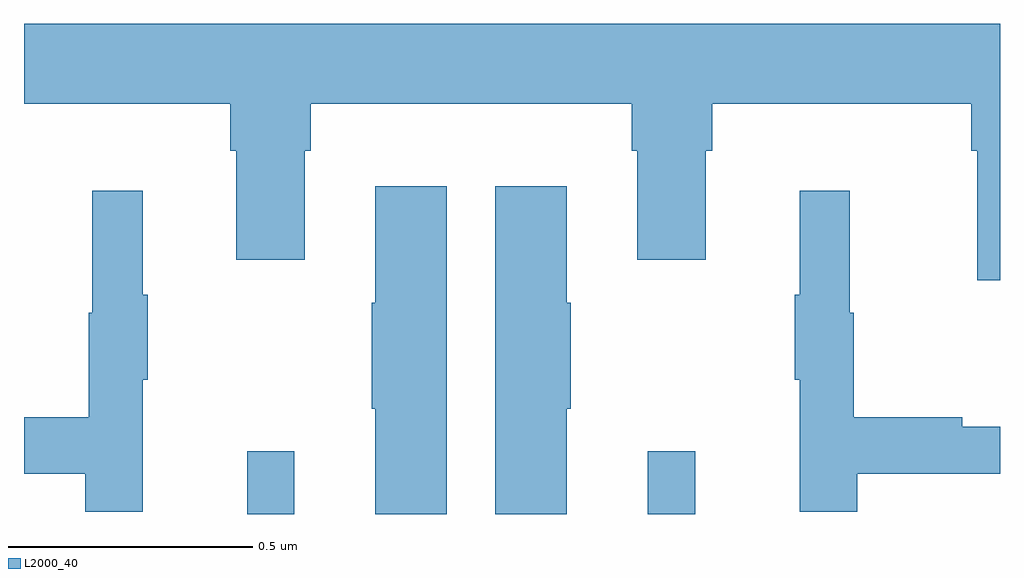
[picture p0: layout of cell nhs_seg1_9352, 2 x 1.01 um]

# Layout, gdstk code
import gdstk
lib = gdstk.Library(unit=1e-6, precision=1e-09)
def R(c, l, rs):  # rectangles x0, y0, x1, y1
    for r in rs: c.add(gdstk.rectangle(r[:2], r[2:], *l))
def P(c, l, *ps):  # polygons
    for p in ps: c.add(gdstk.Polygon(p, *l))
L2000_40 = (2000, 40)

nhs_seg1_9352 = lib.new_cell('nhs_seg1_9352')
R(nhs_seg1_9352, L2000_40, [(227.457,576.199,227.554,576.328), (228.278,576.199,228.375,576.328)])
P(nhs_seg1_9352, L2000_40, [(229,577.204),(227,577.204),(227,577.04),(227.423,577.04),(227.423,576.944),(227.435,576.944),(227.435,576.72),(227.575,576.72),(227.575,576.944),(227.588,576.944),(227.588,577.04),(228.245,577.04),(228.245,576.944),(228.257,576.944),(228.257,576.72),(228.397,576.72),(228.397,576.944),(228.41,576.944),(228.41,577.04),(228.941,577.04),(228.941,576.944),(228.953,576.944),(228.953,576.678),(229,576.678)],
  [(227.866,576.871),(227.72,576.871),(227.72,576.632),(227.713,576.632),(227.713,576.415),(227.72,576.415),(227.72,576.199),(227.866,576.199)],
  [(228.112,576.415),(228.12,576.415),(228.12,576.632),(228.112,576.632),(228.112,576.871),(227.966,576.871),(227.966,576.199),(228.112,576.199)],
  [(227.243,576.475),(227.254,576.475),(227.254,576.649),(227.243,576.649),(227.243,576.862),(227.14,576.862),(227.14,576.612),(227.133,576.612),(227.133,576.398),(227,576.398),(227,576.282),(227.125,576.282),(227.125,576.204),(227.243,576.204)],
  [(228.707,576.282),(229,576.282),(229,576.378),(228.923,576.378),(228.923,576.398),(228.7,576.398),(228.7,576.612),(228.692,576.612),(228.692,576.862),(228.59,576.862),(228.59,576.649),(228.579,576.649),(228.579,576.475),(228.59,576.475),(228.59,576.204),(228.707,576.204)])

lib.write_gds('nhs_seg1_9352.gds')
